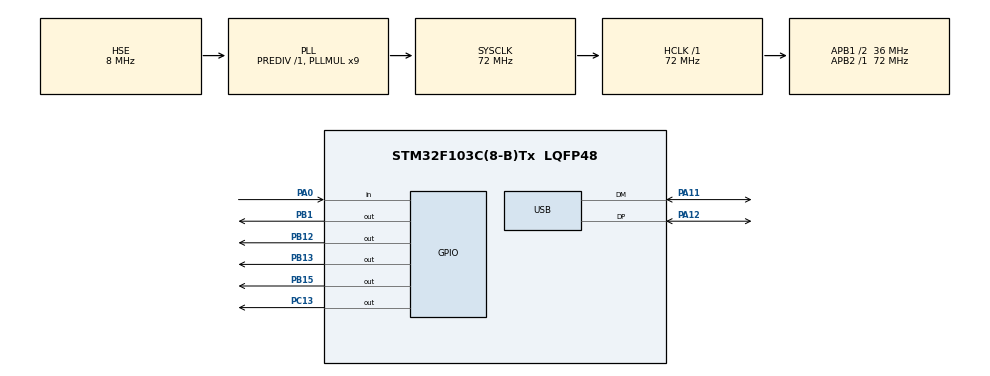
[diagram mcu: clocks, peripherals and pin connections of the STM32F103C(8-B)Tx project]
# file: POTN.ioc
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Mcu.Family=STM32F1
Mcu.Name=STM32F103C(8-B)Tx
Mcu.Package=LQFP48
NVIC.PriorityGroup=NVIC_PRIORITYGROUP_4
NVIC.USB_LP_CAN1_RX0_IRQn=true\:0\:0\:false\:false\:true\:false\:true
PA0-WKUP.GPIO_PuPd=GPIO_PULLUP
PA0-WKUP.Signal=GPIO_Input
PA11.Mode=Device
PA11.Signal=USB_DM
PA12.Mode=Device
PA12.Signal=USB_DP
PA13.Mode=Trace_Asynchronous_SW
PA13.Signal=SYS_JTMS-SWDIO
PA14.Mode=Trace_Asynchronous_SW
PA14.Signal=SYS_JTCK-SWCLK
PB1.Signal=GPIO_Output
PB12.Signal=GPIO_Output
PB13.Signal=GPIO_Output
PB15.Signal=GPIO_Output
PB3.Mode=Trace_Asynchronous_SW
PB3.Signal=SYS_JTDO-TRACESWO
PC13-TAMPER-RTC.GPIO_PuPd=GPIO_PULLDOWN
PC13-TAMPER-RTC.Signal=GPIO_Output
PC14-OSC32_IN.Mode=LSE-External-Oscillator
PC14-OSC32_IN.Signal=RCC_OSC32_IN
PC15-OSC32_OUT.Mode=LSE-External-Oscillator
PC15-OSC32_OUT.Signal=RCC_OSC32_OUT
PD0-OSC_IN.Mode=HSE-External-Oscillator
PD0-OSC_IN.Signal=RCC_OSC_IN
PD1-OSC_OUT.Mode=HSE-External-Oscillator
PD1-OSC_OUT.Signal=RCC_OSC_OUT
ProjectManager.HeapSize=0x200
ProjectManager.StackSize=0x400
ProjectManager.TargetToolchain=MDK-ARM V5
RCC.AHBFreq_Value=72000000
RCC.APB1CLKDivider=RCC_HCLK_DIV2
RCC.APB1Freq_Value=36000000
RCC.APB1TimFreq_Value=72000000
RCC.APB2Freq_Value=72000000
RCC.APB2TimFreq_Value=72000000
RCC.HCLKFreq_Value=72000000
RCC.PLLMUL=RCC_PLL_MUL9
RCC.SYSCLKFreq_VALUE=72000000
RCC.SYSCLKSource=RCC_SYSCLKSOURCE_PLLCLK
RCC.USBFreq_Value=48000000
RCC.USBPrescaler=RCC_USBCLKSOURCE_PLL_DIV1_5
USB_DEVICE.CLASS_NAME_FS=CUSTOM_HID
USB_DEVICE.USBD_CUSTOMHID_OUTREPORT_BUF_SIZE=64
USB_DEVICE.USBD_CUSTOM_HID_REPORT_DESC_SIZE=34
USB_DEVICE.VirtualMode=CustomHid
USB_DEVICE.VirtualModeFS=Custom_Hid_FS
VP_USB_DEVICE_VS_USB_DEVICE_CUSTOM_HID_FS.Mode=CUSTOM_HID_FS
board=custom

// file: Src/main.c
/* USER CODE BEGIN Header */
/**
  ******************************************************************************
  * @file           : main.c
  * @brief          : Main program body
  ******************************************************************************
  * @attention
  *
  * <h2><center>&copy; Copyright (c) 2020 STMicroelectronics.
  * All rights reserved.</center></h2>
  *
  * This software component is licensed by ST under Ultimate Liberty license
  * SLA0044, the "License"; You may not use this file except in compliance with
  * the License. You may obtain a copy of the License at:
  *                             www.st.com/SLA0044
  *
  ******************************************************************************
  */
/* USER CODE END Header */

#include "main.h"
#include "usb_device.h"
#include "gpio.h"

/* USER CODE BEGIN Includes */
#include "usbd_customhid.h" //?????????
#include "flash.h"

typedef  void (*pFunction)(void);
#define ApplicationAddress    (0x8004000)
pFunction Jump_To_Application;
uint32_t JumpAddress;

uint32_t FLASH_ADDR = APP_FLASH_START;						//写入页的地址

ST_Data FLASH_Data;
ST_Data *FLASH_DATA = &FLASH_Data;

extern USBD_HandleTypeDef hUsbDeviceFS; //????USB????
/* USER CODE END Includes */

/* USER CODE BEGIN PTD */
#define RegBase  (0x40005C00L)  /* USB_IP Peripheral Registers base address */
/* Control register */
#define CNTR    ((__IO unsigned *)(RegBase + 0x40))
#define _SetCNTR(wRegValue)  (*CNTR   = (uint16_t)wRegValue)
/* GetCNTR */
#define _GetCNTR()   ((uint16_t) *CNTR)

#define GPIOA_ODR_Addr    (GPIOA_BASE+12) //0x4001080C

#define BITBAND(addr, bitnum) ((addr & 0xF0000000)+0x2000000+((addr &0xFFFFF)<<5)+(bitnum<<2))
#define MEM_ADDR(addr)  *((volatile unsigned long  *)(addr))
#define BIT_ADDR(addr, bitnum)   MEM_ADDR(BITBAND(addr, bitnum))
#define PAout(n)   BIT_ADDR(GPIOA_ODR_Addr,n)  //输出

void usb_port_set(uint8_t enable)
{
		__HAL_RCC_GPIOA_CLK_ENABLE();           	//开启GPIOA时钟
		if(enable){
			GPIOA->CRH&=0XFFF00FFF;
			GPIOA->CRH|=0X00044000;
			_SetCNTR(_GetCNTR()&(~(1<<1)));
		}
		else {
			_SetCNTR(_GetCNTR()|(1<<1));
			GPIOA->CRH&=0XFFF00FFF;
			GPIOA->CRH|=0X00033000;
			PAout(12)=0;
		}
}
/* USER CODE END PTD */

/* USER CODE BEGIN PM */
uint8_t send_buf[64] = {0};
uint8_t USB_Recive_Buffer[64] = {0}; //USB????

/* USER CODE END PM */

void SystemClock_Config(void);
/* USER CODE BEGIN PFP */
void buffer_clear(uint8_t * buf);
/* USER CODE END PFP */

/* USER CODE BEGIN 0 */
/*Variable used for Erase procedure*/

/* USER CODE END 0 */

int main(void)
{
  /* USER CODE BEGIN 1 */
	static uint8_t Status = 0;
	static int time_flag = 0;				//记录时间
	uint8_t flash_flag = 0; //判断当前 是否进入app模式的标志位 从flash第15页最后一个字中读取出来

  /* USER CODE END 1 */

  /* MCU Configuration--------------------------------------------------------*/

  /* Reset of all peripherals, Initializes the Flash interface and the Systick. */
  HAL_Init();

  /* Configure the system clock */
  SystemClock_Config();

  /* USER CODE BEGIN SysInit */
	usb_port_set(1);		//USB控制寄存器 打开USB
  /* USER CODE END SysInit */

  /* Initialize all configured peripherals */
  MX_GPIO_Init();
  MX_USB_DEVICE_Init();
  /* USER CODE BEGIN 2 */
	Flash_ReadData(ADDR_FLASH_PAGE_16-1,&flash_flag,1);
	if(flash_flag == 0x55){
		while(1){
		usb_port_set(0);		//USB控制寄存器 关闭USB

		UserAppStart();
		__set_FAULTMASK(1);
		NVIC_SystemReset();				//系统软件复位
		};

	}

	FLASH_STRUCT_Init(FLASH_DATA);

  /* USER CODE END 2 */

  /* Infinite loop */
  /* USER CODE BEGIN WHILE */
  while (1)
  {

		if(Status == 0){					//未接受到升级信息包 之前 每隔一秒 向上位机发送 准备就绪
			time_flag++;
			if(time_flag > 10){					//10*100ms = 1s
				time_flag = 0;
				send_buf[0] = UPGRED_READY_PACK;   //初始化完成 通知上位机 升级就绪
				USBD_CUSTOM_HID_SendReport(&hUsbDeviceFS, send_buf, sizeof(send_buf));
				buffer_clear(send_buf);
			}
			HAL_Delay(100);    //100ms
		}

		if(USB_Recive_Buffer[0] != 0){
			switch (Status){

				case 0:																							//状态0 等待升级信息包 的同时 向上位机发送就绪包
					if(USB_Recive_Buffer[0]==UPGRED_INFORM_PACK){			//收到升级信息包
						upgrepInform(&Status);
					}
					break;

				case 1:																							//状态1 升级信息数据传输
					if(USB_Recive_Buffer[0] == UPGRED_DATA_PACK){		  //收到数据包
						 upgrepData(&Status);
					}
					break;

				case 2:

					break;

			}
			buffer_clear(USB_Recive_Buffer);			// 清空 USB 存储来自PC发来的数据的数组

			//如果循环队列里面字节数 大于flash的一页了
			if(FLASH_DATA->DATA_8_LEN >= FLASH_PAGE_SIZE){
				transform(FLASH_DATA);									//字节 转换为字
				Flash_WriteData(FLASH_ADDR,FLASH_DATA->DATA_32); //写入flash
				DATA32_Init(FLASH_DATA->DATA_32);									//写入数据后把对应数组全部复位 0XFF
				FLASH_ADDR += FLASH_PAGE_SIZE;							//flash地址 向后移动一页
			}
			//如果已经接受了最后一包的数据 且 所有数据并没有刚好写满最后一页
			if(Status == 2 && (FLASH_DATA->TOTAL_BYTE%FLASH_PAGE_SIZE) != 0){
				transform_extra(FLASH_DATA);
				Flash_WriteData(FLASH_ADDR,FLASH_DATA->DATA_32); //写入flash
				DATA32_Init(FLASH_DATA->DATA_32);									//写入数据后把对应数组全部复位 0XFF

			}

		}

		if(Status == 2){

			send_buf[0] = UPGRED_STATUS_PACK;
			if(FLASH_DATA->CHECKSUM == 0){			//checksum正确
				send_buf[1] = YES;
				Status = 3;

			}
			else {
				send_buf[1]= NO;							//checksum 错误
				Status = 0;
				FLASH_STRUCT_Init(FLASH_DATA);
			}
			USBD_CUSTOM_HID_SendReport(&hUsbDeviceFS, send_buf, sizeof(send_buf));
			buffer_clear(send_buf);
			Flash_WriteWord(ADDR_FLASH_PAGE_15,0x55555555,255);
			HAL_Delay(1000);
			__set_FAULTMASK(1);
			NVIC_SystemReset();				//系统软件复位
			while(1);
		}

//    /* USER CODE BEGIN 3 */

//		/* USER CODE END 3 */
  }

}

void upgrepInform(uint8_t *Status){

		FLASH_DATA->TOTAL_BYTE = USB_Recive_Buffer[1];				//  本次升级 一共有多少个字节
		FLASH_DATA->TOTAL_BYTE <<= 8;
		FLASH_DATA->TOTAL_BYTE += USB_Recive_Buffer[2];					//STM32是小端模式  左移地址变大
		FLASH_DATA->TOTAL_BYTE <<= 8;
		FLASH_DATA->TOTAL_BYTE += USB_Recive_Buffer[3];
		FLASH_DATA->TOTAL_BYTE <<= 8;
		FLASH_DATA->TOTAL_BYTE += USB_Recive_Buffer[4];

		if((FLASH_DATA->TOTAL_BYTE)%61 == 0)												//计算出 一共有多少包 一包有61个字节 装数据
			FLASH_DATA->TOTAL_PACK = (FLASH_DATA->TOTAL_BYTE)/61;
		else
			FLASH_DATA->TOTAL_PACK = ((FLASH_DATA->TOTAL_BYTE)/61)+1;

		if((FLASH_DATA->TOTAL_BYTE)%1024 == 0)											// 计算出一共有多少页  STM32F1 一页有1024个字节
			FLASH_DATA->TOTAL_PAGE = FLASH_DATA->TOTAL_BYTE/1024;
		else
			FLASH_DATA->TOTAL_PAGE = (FLASH_DATA->TOTAL_BYTE/1024)+1;

		FLASH_DATA->CHECKSUM = USB_Recive_Buffer[5];							//校验和

		send_buf[0] = AKC_PACK;
		if(FLASH_DATA->TOTAL_BYTE != 0 && FLASH_DATA->TOTAL_BYTE < (128-16)*1024){						//总字节数 不能等于0 不能大于 芯片可用flash 芯片共有128K bootloader占用了16K
			send_buf[1] =	YES;										//更新升级成功
			*Status = 1;
		}
		else{
			send_buf[1] =	NO;												//失败 出错
		}
		USBD_CUSTOM_HID_SendReport(&hUsbDeviceFS, send_buf, sizeof(send_buf));
		buffer_clear(send_buf);
}

void upgrepData(uint8_t * Status){
		FLASH_DATA->PACK_NUM_PC = USB_Recive_Buffer[1];			//本次PC发来数据包的编号
		FLASH_DATA->PACK_NUM_PC <<= 8;
		FLASH_DATA->PACK_NUM_PC += USB_Recive_Buffer[2];

		send_buf[0] = AKC_PACK;		//应答包头

		if(FLASH_DATA->PACK_NUM_PC == FLASH_DATA->PACK_NUM ){		//数据包编号正确
				send_buf[1] = YES;  			 // 本次传输没出错

				//不是最后一包数据 或 最后一包数据恰好装满
				if(FLASH_DATA->PACK_NUM_PC != FLASH_DATA->TOTAL_PACK || (FLASH_DATA->TOTAL_BYTE%61)==0){
					for(int i = 3; i < 64 ; i++){
						FLASH_DATA->DATA_8[FLASH_DATA->DATA_8_INDEX_END] = USB_Recive_Buffer[i];
						FLASH_DATA->CHECKSUM += USB_Recive_Buffer[i];
						FLASH_DATA->DATA_8_INDEX_END++;
						if(FLASH_DATA->DATA_8_INDEX_END >= MAX_round_queue) FLASH_DATA->DATA_8_INDEX_END -= MAX_round_queue;   //循环队列
						FLASH_DATA->DATA_8_LEN++;			  //队列长度+1
					}

				}
				else{			// 最后一包数据 且 未装满
					for(int i = 3; i < ((FLASH_DATA->TOTAL_BYTE%61)+3); i++){
						FLASH_DATA->DATA_8[FLASH_DATA->DATA_8_INDEX_END] = USB_Recive_Buffer[i];
						FLASH_DATA->CHECKSUM += USB_Recive_Buffer[i];
						FLASH_DATA->DATA_8_INDEX_END++;
						if(FLASH_DATA->DATA_8_INDEX_END >= MAX_round_queue) FLASH_DATA->DATA_8_INDEX_END -= MAX_round_queue;    //循环队列
						FLASH_DATA->DATA_8_LEN++;
					}
				}

				if(FLASH_DATA->PACK_NUM == FLASH_DATA->TOTAL_PACK){					//如果本次是 最后一包数据  进入状态机的下一个状态
					*Status = 2;
					FLASH_DATA->PACK_NUM = 0;
				}
				FLASH_DATA->PACK_NUM++;			// 当前准备接受的数据包编号+1
		}
		else{
			send_buf[1] = NO;			 //	升级失败
		}
		USBD_CUSTOM_HID_SendReport(&hUsbDeviceFS, send_buf, sizeof(send_buf));
		buffer_clear(send_buf);
}

void UserAppStart(void)

{
//		__set_PRIMASK(1);
	  if (((*(__IO uint32_t*)ApplicationAddress) & 0x2FFE0000 ) == 0x20000000)
    {
      /* Jump to user application */
//				__ASM("CPSID  I");
      JumpAddress = *(__IO uint32_t*) (ApplicationAddress + 4);

      Jump_To_Application = (pFunction) JumpAddress;

      /* Initialize user application's Stack Pointer */

      __set_MSP(*(__IO uint32_t*) ApplicationAddress);

		for(int i = 0; i < 8; i++)

		{

			NVIC->ICER[i] = 0xFFFFFFFF;	/* 关闭中断*/

			NVIC->ICPR[i] = 0xFFFFFFFF;	/* 清楚中断标志位 */

		}

      Jump_To_Application();
    }

}

void buffer_clear(uint8_t * buf){

	for(int i = 0; i < 64; i++){
		buf[i] = 0;
	}
}

void SystemClock_Config(void)
{
  RCC_OscInitTypeDef RCC_OscInitStruct = {0};
  RCC_ClkInitTypeDef RCC_ClkInitStruct = {0};
  RCC_PeriphCLKInitTypeDef PeriphClkInit = {0};

  /** Initializes the CPU, AHB and APB busses clocks
  */
  RCC_OscInitStruct.OscillatorType = RCC_OSCILLATORTYPE_HSE;
  RCC_OscInitStruct.HSEState = RCC_HSE_ON;
  RCC_OscInitStruct.HSEPredivValue = RCC_HSE_PREDIV_DIV1;
  RCC_OscInitStruct.HSIState = RCC_HSI_ON;
  RCC_OscInitStruct.PLL.PLLState = RCC_PLL_ON;
  RCC_OscInitStruct.PLL.PLLSource = RCC_PLLSOURCE_HSE;
  RCC_OscInitStruct.PLL.PLLMUL = RCC_PLL_MUL9;
  if (HAL_RCC_OscConfig(&RCC_OscInitStruct) != HAL_OK)
  {
    Error_Handler();
  }
  /** Initializes the CPU, AHB and APB busses clocks
  */
  RCC_ClkInitStruct.ClockType = RCC_CLOCKTYPE_HCLK|RCC_CLOCKTYPE_SYSCLK
                              |RCC_CLOCKTYPE_PCLK1|RCC_CLOCKTYPE_PCLK2;
  RCC_ClkInitStruct.SYSCLKSource = RCC_SYSCLKSOURCE_PLLCLK;
  RCC_ClkInitStruct.AHBCLKDivider = RCC_SYSCLK_DIV1;
  RCC_ClkInitStruct.APB1CLKDivider = RCC_HCLK_DIV2;
  RCC_ClkInitStruct.APB2CLKDivider = RCC_HCLK_DIV1;

  if (HAL_RCC_ClockConfig(&RCC_ClkInitStruct, FLASH_LATENCY_2) != HAL_OK)
  {
    Error_Handler();
  }
  PeriphClkInit.PeriphClockSelection = RCC_PERIPHCLK_USB;
  PeriphClkInit.UsbClockSelection = RCC_USBCLKSOURCE_PLL_DIV1_5;
  if (HAL_RCCEx_PeriphCLKConfig(&PeriphClkInit) != HAL_OK)
  {
    Error_Handler();
  }
}

void Error_Handler(void)
{
}

/************************ (C) COPYRIGHT STMicroelectronics *****END OF FILE****/
